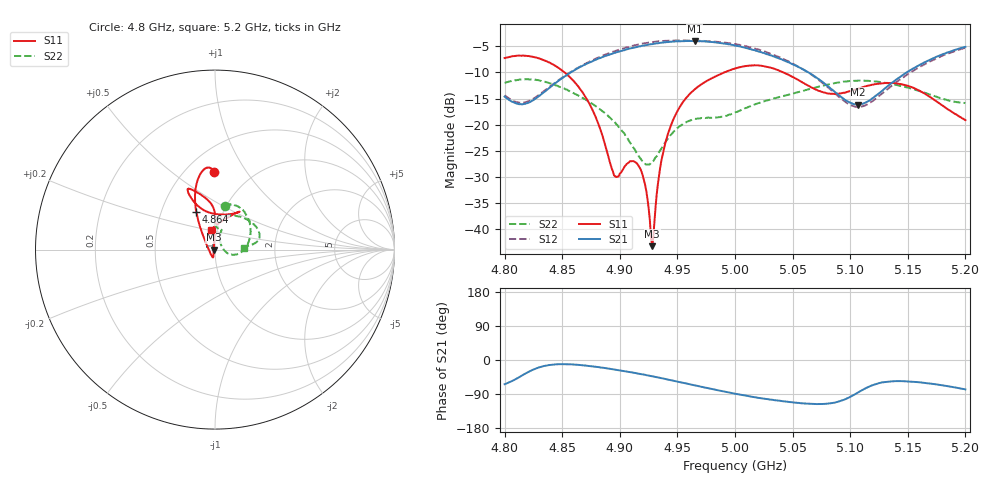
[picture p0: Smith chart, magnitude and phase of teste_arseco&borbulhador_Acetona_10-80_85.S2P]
! Network Analyzer HP8722D
! Hewlett-Packard
! Data name: Linha & Wilkinson
! Saver's name: Rodrigo Anjos
! Comments: Teste da utilização de aquisição
! continua pelo VNA HP8722D
! Time and date: 25/4/2025 15:58
!  Frequency  S11  S21  S12  S22
# HZ  S  MA R 50
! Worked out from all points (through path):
!   401 points, 4.8 GHz to 5.2 GHz, reference 50 ohm
!   highest |S21| = -3.96 dB at 4.965 GHz (marker M1); lowest = -16.1 dB at 5.107 GHz (marker M2)
!   lowest |S11| = -43.2 dB at 4.928 GHz (marker M3), VSWR 1.01, Z = 49.3 - j0.0765 ohm
!   |S11| at or under -10 dB: 4.852 GHz to 4.991 GHz (138.4 MHz wide, 2.81 % of centre); 5.042 GHz to end of sweep
!   |S22| runs from -27.6 to -11.3 dB; largest |S21 - S12| = 1.2
!   S11 on the Smith chart (normalised r, x): 4.8 GHz: 0.68, +0.72; 4.864 GHz: 0.75, +0.33; 5.2 GHz: 0.94, +0.21
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4.8e9  0.4344 90.7  0.1859 -63.8  0.1909 69.6  0.2515 77.5
4.82e9  0.4541 97.0  0.1612 -32.5  0.167 98.4  0.2728 61.5
4.864e9  0.2319 116.6  0.3493 -12.8  0.3521 121.1  0.1901 12.2
4.867e9  0.2088 118.2  0.363 -13.8  0.3674 120.8  0.1832 8.7
4.88e9  0.1117 128.5  0.4227 -18.3  0.4323 118.2  0.1483 -5.1
4.896e9  0.03216 -165.2  0.4877 -25.3  0.5058 113.1  0.1047 -16.1
4.91e9  0.04484 -106.5  0.5403 -32.4  0.5648 107.1  0.06479 -14.0
4.917e9  0.03933 -102.8  0.562 -36.6  0.5893 103.5  0.04899 -1.4
4.922e9  0.02664 -105.9  0.5773 -39.1  0.6026 100.8  0.04222 15.9
4.928e9  0.006909 -173.6  0.5896 -42.9  0.6178 97.1  0.04347 41.0
4.93e9  0.01163 124.2  0.5959 -44.1  0.6206 95.7  0.04664 48.3
4.934e9  0.03219 99.8  0.6041 -46.7  0.63 93.4  0.05452 57.7
4.939e9  0.06327 93.1  0.6143 -49.7  0.6345 90.1  0.06675 65.6
4.946e9  0.1094 89.8  0.6246 -54.4  0.6376 85.6  0.08399 70.0
4.965e9  0.218 91.0  0.634 -66.9  0.6377 73.4  0.1142 71.8
5e9  0.345 109.2  0.5717 -88.9  0.5922 50.8  0.1312 88.6
5.03e9  0.3539 115.2  0.4638 -104.2  0.4811 33.6  0.1731 85.5
5.067e9  0.226 105.2  0.3016 -116.0  0.2986 23.6  0.2218 57.2
5.107e9  0.2223 64.0  0.1563 -85.3  0.148 57.7  0.2638 24.2
5.134e9  0.2508 57.2  0.2409 -56.7  0.2263 88.7  0.248 12.4
5.17e9  0.1826 70.6  0.4221 -62.4  0.4068 84.5  0.1936 6.9
5.2e9  0.1107 100.3  0.556 -77.6  0.545 70.2  0.1615 3.8
